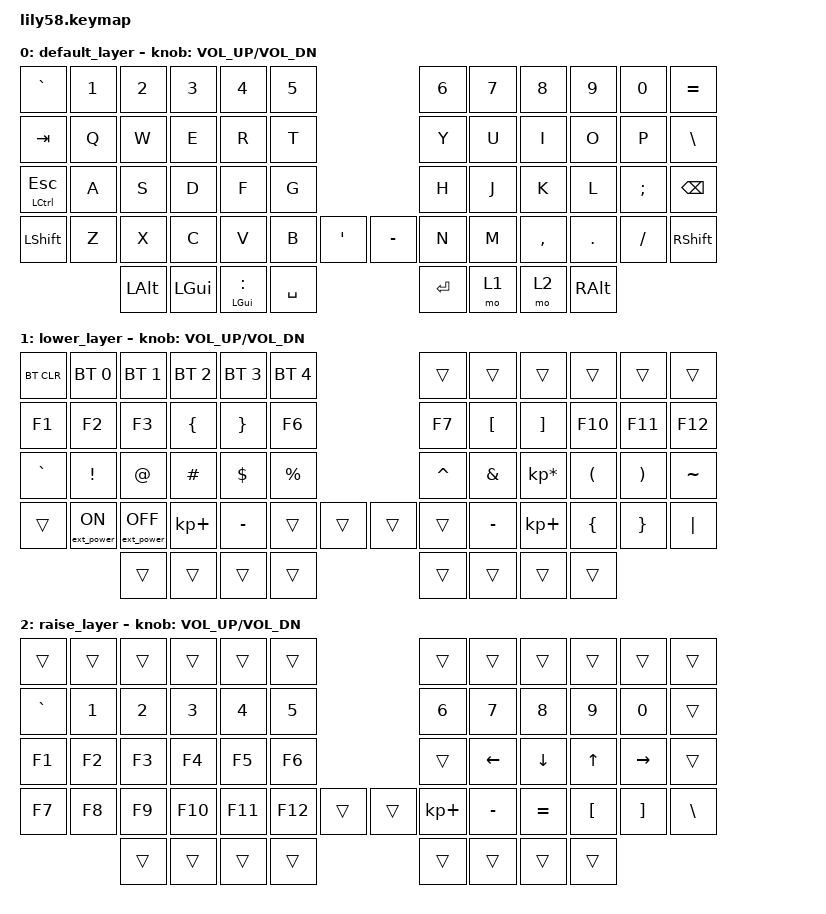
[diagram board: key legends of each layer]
/*
 * Copyright (c) 2020 The ZMK Contributors
 *
 * SPDX-License-Identifier: MIT
 */

#include <behaviors.dtsi>
#include <dt-bindings/zmk/keys.h>
#include <dt-bindings/zmk/bt.h>
#include <dt-bindings/zmk/ext_power.h>

/ {
    keymap {
        compatible = "zmk,keymap";

        default_layer {
// ------------------------------------------------------------------------------------------------------------
// |   `   |  1  |  2  |  3   |  4   |  5   |                   |  6   |  7    |  8    |  9   |   0   |   =   |
// |  TAB  |  Q  |  W  |  E   |  R   |  T   |                   |  Y   |  U    |  I    |  O   |   P   |   \   |
// |esc/ctl|  A  |  S  |  D   |  F   |  G   |                   |  H   |  J    |  K    |  L   |   ;   | BSPC  |
// | SHIFT |  Z  |  X  |  C   |  V   |  B   |    '   |  |   -   |  N   |  M    |  ,    |  .   |   /   | SHIFT |
//                     | ALT  | GUI  |:/GUI |  SPACE |  | ENTER |  L1  |  L2   | RALT  |
            bindings = <
&kp    GRAVE     &kp N1 &kp N2 &kp N3   &kp N4   &kp N5                      &kp N6 &kp N7   &kp N8    &kp N9  &kp N0   &kp EQUAL
&kp    TAB       &kp Q  &kp W  &kp E    &kp R    &kp T                       &kp Y  &kp U    &kp I     &kp O   &kp P    &kp BSLH
&mt    LCTRL ESC &kp A  &kp S  &kp D    &kp F    &kp G                       &kp H  &kp J    &kp K     &kp L   &kp SEMI &kp BSPC
&kp    LSHFT     &kp Z  &kp X  &kp C    &kp V    &kp B  &kp SQT    &kp MINUS &kp N  &kp M    &kp COMMA &kp DOT &kp FSLH &kp RSHFT
                           &kp LALT &kp LGUI  &mt LGUI COLON &kp SPACE  &kp RET   &mo 1  &mo 2    &kp RALT
            >;

            sensor-bindings = <&inc_dec_kp C_VOL_UP C_VOL_DN>;
        };

        lower_layer {
// ------------------------------------------------------------------------------------------------------------
// | BTCLR | BT1 | BT2 |  BT3 |  BT4 |  BT5 |                   |      |       |       |      |       |       |
// |  F1   |  F2 |  F3 |  {   |  }   |  F6  |                   |  F7  |  [    |  ]    |  F10 |  F11  |  F12  |
// |   `   |  !  |  @  |  #   |  $   |  %   |                   |  ^   |  &    |  *    |  (   |   )   |   ~   |
// |       |     |     |  +   |  -   |      |        |  |       |      |  _    |  +    |  {   |   }   |  "|"  |
//                     |      |      |      |        |  |       |      |       |       |
            bindings = <
&bt BT_CLR &bt BT_SEL 0     &bt BT_SEL 1      &bt BT_SEL 2      &bt BT_SEL 3 &bt BT_SEL 4                 &trans    &trans    &trans          &trans    &trans    &trans
&kp F1     &kp F2           &kp F3            &kp LBRC          &kp RBRC     &kp F6                       &kp F7    &kp LBKT  &kp RBKT        &kp F10   &kp F11   &kp F12
&kp GRAVE  &kp EXCL         &kp AT            &kp HASH          &kp DOLLAR   &kp PRCNT                    &kp CARET &kp AMPS  &kp KP_MULTIPLY &kp LPAR  &kp RPAR  &kp TILDE
&trans     &ext_power EP_ON &ext_power EP_OFF &kp KP_PLUS       &kp MINUS    &trans    &trans   &trans    &trans    &kp MINUS &kp KP_PLUS     &kp LBRC  &kp RBRC  &kp PIPE
                                              &trans            &trans       &trans    &trans   &trans    &trans    &trans    &trans
            >;

            sensor-bindings = <&inc_dec_kp C_VOL_UP C_VOL_DN>;
        };

        raise_layer {
// ------------------------------------------------------------------------------------------------------------
// |       |     |     |      |      |      |                   |      |       |       |      |       |       |
// |   `   |  1  |  2  |  3   |  4   |  5   |                   |  6   |   7   |   8   |  9   |   0   |       |
// |   F1  |  F2 |  F3 |  F4  |  F5  |  F6  |                   |      |   <-  |   v   |  ^   |  ->   |       |
// |   F7  |  F8 |  F9 |  F10 |  F11 |  F12 |        |  |       |  +   |   -   |   =   |  [   |   ]   |   \   |
//                     |      |      |      |        |  |       |      |       |       |
            bindings = <
&trans    &trans &trans &trans  &trans  &trans                       &trans      &trans    &trans    &trans   &trans    &trans
&kp GRAVE &kp N1 &kp N2 &kp N3  &kp N4  &kp N5                       &kp N6      &kp N7    &kp N8    &kp N9   &kp N0    &trans
&kp F1    &kp F2 &kp F3 &kp F4  &kp F5  &kp F6                       &trans      &kp LEFT  &kp DOWN  &kp UP   &kp RIGHT &trans
&kp F7    &kp F8 &kp F9 &kp F10 &kp F11 &kp F12   &trans   &trans    &kp KP_PLUS &kp MINUS &kp EQUAL &kp LBKT &kp RBKT  &kp BSLH
                        &trans  &trans  &trans    &trans   &trans    &trans      &trans    &trans
            >;

            sensor-bindings = <&inc_dec_kp C_VOL_UP C_VOL_DN>;
        };
    };
};
